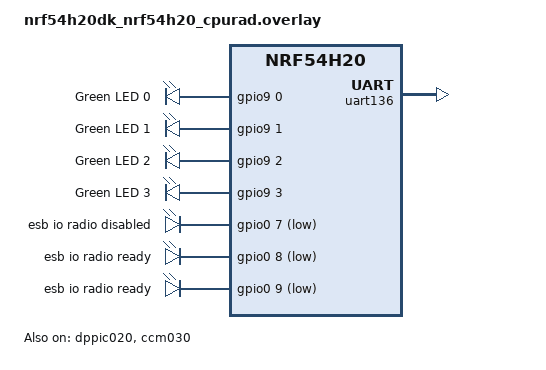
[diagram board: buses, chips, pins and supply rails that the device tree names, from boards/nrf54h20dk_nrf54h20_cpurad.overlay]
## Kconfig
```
#
# Copyright (c) 2020 Nordic Semiconductor
#
# SPDX-License-Identifier: LicenseRef-Nordic-5-Clause
#

source "Kconfig.zephyr"

menu "Enhanced ShockBurst: Transmitter"

config ESB_PTX_APP_LOG_LEVEL
	int "Log level for the ESB PTX sample"
	default 4

config ESB_PTX_TX_LENGTH
	int "TX payload length"
	range 1 ESB_MAX_PAYLOAD_LENGTH
	default 1

config APP_DATA_LENGTH
	int "Exact payload length"
	range 1 ESB_MAX_PAYLOAD_LENGTH
	default 4

config ESB_PTX_BATCH_SIZE
	int "TX batch size"
	range 1 4000000000
	default 1000

config ESB_PTX_DELAY
	int "TX delay"
	range 0 10000000
	default 0
	help
	  Delay a number of microseconds before sending an ESB packet.

endmenu
```

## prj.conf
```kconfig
#
# Copyright (c) 2019 Nordic Semiconductor ASA
#
# SPDX-License-Identifier: LicenseRef-Nordic-5-Clause
#
CONFIG_CLOCK_CONTROL=y
CONFIG_NCS_SAMPLES_DEFAULTS=y
CONFIG_ESB=y

CONFIG_ESB_FAST_SWITCHING=y
CONFIG_ESB_FAST_CHANNEL_SWITCHING=y
CONFIG_ESB_RX_FIFO_SIZE=40
CONFIG_ESB_TX_FIFO_SIZE=40

CONFIG_ESB_PTX_TX_LENGTH=10

# 1kHz packet rate
# CONFIG_ESB_PTX_DELAY=1000
# 2kHz packet rate
# CONFIG_ESB_PTX_DELAY=500
# 4kHz packet rate
# CONFIG_ESB_PTX_DELAY=250
CONFIG_ESB_PTX_DELAY=125
# CONFIG_ESB_PTX_DELAY=100000
CONFIG_SPIN_VALIDATE=n

# Security
CONFIG_NRF_SECURITY=y
CONFIG_MBEDTLS_PSA_CRYPTO_C=y

CONFIG_MBEDTLS_ENABLE_HEAP=y
CONFIG_MBEDTLS_HEAP_SIZE=8192
CONFIG_MAIN_STACK_SIZE=4096

# CONFIG_CLOAK=y
CONFIG_JETSTREAM=y
```

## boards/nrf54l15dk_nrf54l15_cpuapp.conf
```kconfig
# CONFIG_SOC_NRF_FORCE_CONSTLAT=y
CONFIG_NRFX_DPPI10=y
```

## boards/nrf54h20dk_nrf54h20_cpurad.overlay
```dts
/*
 * Copyright (c) 2024 Nordic Semiconductor ASA
 *
 * SPDX-License-Identifier: LicenseRef-Nordic-5-Clause
 */

 / {
	leds {
		compatible = "gpio-leds";

		led0: led_0 {
			gpios = < &gpio9 0 GPIO_ACTIVE_HIGH >;
			label = "Green LED 0";
		};

		led1: led_1 {
			gpios = < &gpio9 1 GPIO_ACTIVE_HIGH >;
			label = "Green LED 1";
		};

		led2: led_2 {
			gpios = < &gpio9 2 GPIO_ACTIVE_HIGH >;
			label = "Green LED 2";
		};

		led3: led_3 {
			gpios = < &gpio9 3 GPIO_ACTIVE_HIGH >;
			label = "Green LED 3";
		};
	};

	aliases {
		led0 = &led0;
		led1 = &led1;
		led2 = &led2;
		led3 = &led3;
	};

	chosen {
		zephyr,console = &uart136;
	};
	esb_gpio {
		compatible = "gpio-leds";
		esb_io_radio_disabled: esb-io-radio-disabled {
			gpios = <&gpio0 7 GPIO_ACTIVE_LOW>;
			label = "esb io radio disabled";
		};
		esb_io_radio_rx: esb-io-radio-rx {
			gpios = <&gpio0 8 GPIO_ACTIVE_LOW>;
			label = "esb io radio ready";
		};
		esb_io_radio_tx: esb-io-radio-tx {
			gpios = <&gpio0 9 GPIO_ACTIVE_LOW>;
			label = "esb io radio ready";
		};
	};

};

&gpio9 {
	status = "okay";
};

&gpio0 {
	status = "okay";
};

&gpiote130 {
	owned-channels = <0 1 2 3 4 5 6 7>;
	status = "okay";
};

&uart136 {
	status = "okay";
	memory-regions = <&cpurad_dma_region>;
};

&uart135 {
	status = "disabled";
};

&dppic020 {
	status = "okay";
	source-channels = < 0 1 2 3 4 5 >;
	sink-channels = < 6 7 8 9 10 11 >;
};

&ccm030 {
	status = "okay";
};
```

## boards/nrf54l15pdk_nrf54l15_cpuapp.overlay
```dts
/{
	esb_gpio {
		compatible = "gpio-leds";
		esb_io_radio_disabled: esb-io-radio-disabled {
			gpios = <&gpio2 9 GPIO_ACTIVE_LOW>;
			label = "esb io radio disabled";
		};
		esb_io_radio_rx: esb-io-radio-rx {
			gpios = <&gpio1 10 GPIO_ACTIVE_LOW>;
			label = "esb io radio ready";
		};
		esb_io_radio_tx: esb-io-radio-tx {
			gpios = <&gpio2 7 GPIO_ACTIVE_LOW>;
			label = "esb io radio ready";
		};
	};

};
```

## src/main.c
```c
/*
 * Copyright (c) 2018 Nordic Semiconductor ASA
 *
 * SPDX-License-Identifier: LicenseRef-Nordic-5-Clause
 */
#include <zephyr/drivers/clock_control.h>
#include <zephyr/drivers/clock_control/nrf_clock_control.h>

#if defined(NRF54L15_XXAA)
#include <hal/nrf_clock.h>
#endif /* defined(NRF54L15_XXAA) */
#include <zephyr/drivers/timer/nrf_grtc_timer.h>
#include <zephyr/drivers/gpio.h>
#include <zephyr/irq.h>
#include <zephyr/logging/log.h>
#include <nrf.h>
#include <esb.h>
#include <zephyr/device.h>
#include <zephyr/devicetree.h>
#include <zephyr/kernel.h>
#include <zephyr/types.h>
#include <zephyr/sys/byteorder.h>
#if defined(CONFIG_CLOCK_CONTROL_NRF2)
#include <hal/nrf_lrcconf.h>
#endif
#if defined(CONFIG_CLOAK)
#include <cloak.h>
#endif
#include <jetstr.h>
LOG_MODULE_REGISTER(esb_ptx, CONFIG_ESB_PTX_APP_LOG_LEVEL);
struct main_msg {
	uint32_t type;
	uint32_t cnt;
#ifdef CONFIG_CLOAK
	uint32_t cnt_err;
#endif
};

#define MAIN_MSG_TX             0
#define MAIN_MSG_TIMER          1
#define MAIN_MSG_TX_FAIL        2
#define MAIN_MSG_RX             3

struct print_msg {
	uint32_t tx_cnt;
	uint32_t tx_fail_cnt;
	uint32_t rx_cnt;
#ifdef CONFIG_ESB_PTX_DATA_CHECK
	uint32_t rx_error_cnt;
#endif
	int64_t time_cnt;
};

static struct esb_payload rx_payload;
static struct esb_payload tx_payload = ESB_CREATE_PAYLOAD(0, 0x01, 0x02, 0x03, 0x04);
K_MSGQ_DEFINE(main_msgq,
	      sizeof(struct main_msg),
	      64,
	      sizeof(uint32_t));

K_MSGQ_DEFINE(print_msgq,
	      sizeof(struct print_msg),
	      1,
	      sizeof(uint32_t));


static struct k_thread print_thread;

static K_THREAD_STACK_DEFINE(print_stack, 512);

#if CONFIG_ESB_PTX_DELAY > 0
static int32_t timer_chan;
static uint64_t timer_tick;

static int timer_target_set(void);
#endif

static uint8_t nonce[13] = {0};
uint8_t data[CONFIG_APP_DATA_LENGTH];
static uint8_t s_channel_tab[] = JETSTR_CHANNEL_TAB;
static const int8_t hid_xy[][2] = {
	{35,7}, {30,21}, {21,30}, {7,35},
	{-7,35}, {-21,30}, {-30,21}, {-35,7},
	{-35,-7}, {-30,-21}, {-21,-30}, {-7,-35},
	{7,-35}, {21,-30}, {30,-21}, {35,-7}
};

void event_handler(void *p_event_data, uint16_t event_size)
{
	struct main_msg msg;
	int err;
	jetstr_evt_t *evt;

	evt = (jetstr_evt_t *)p_event_data;
	switch (evt->type) {
	case jetstr_evt_tx_success:
		msg.type = MAIN_MSG_TX;
		msg.cnt = 1;
		err = k_msgq_put(&main_msgq, &msg, K_NO_WAIT);
		if (err) {
			LOG_ERR("Cannot put TX done to message queue");
		}
		break;
	case jetstr_evt_tx_failed:
		esb_start_tx();
		msg.type = MAIN_MSG_TX_FAIL;
		msg.cnt = 1;
		err = k_msgq_put(&main_msgq, &msg, K_NO_WAIT);
		if (err) {
			LOG_ERR("Cannot put TX fail to message queue");
		}
		break;
	case jetstr_evt_rx_received:
		msg.type = MAIN_MSG_RX;
		msg.cnt = 0;
#ifdef CONFIG_CLOAK
		msg.cnt_err = 0;
#endif
		while (esb_read_rx_payload(&rx_payload) == 0) {
			msg.cnt++;
		}

		err = k_msgq_put(&main_msgq, &msg, K_NO_WAIT);
		if (err) {
			LOG_ERR("Cannot put RX count to message queue");
		}

		break;
	case jetstr_evt_none:

		break;

	}
}

#if defined(CONFIG_CLOCK_CONTROL_NRF)
int clocks_start(void)
{
	int err;
	int res;
	struct onoff_manager *clk_mgr;
	struct onoff_client clk_cli;

	clk_mgr = z_nrf_clock_control_get_onoff(CLOCK_CONTROL_NRF_SUBSYS_HF);
	if (!clk_mgr) {
		LOG_ERR("Unable to get the Clock manager");
		return -ENXIO;
	}

	sys_notify_init_spinwait(&clk_cli.notify);

	err = onoff_request(clk_mgr, &clk_cli);
	if (err < 0) {
		LOG_ERR("Clock request failed: %d", err);
		return err;
	}

	do {
		err = sys_notify_fetch_result(&clk_cli.notify, &res);
		if (!err && res) {
			LOG_ERR("Clock could not be started: %d", res);
			return res;
		}
	} while (err);

#if defined(NRF54L15_XXAA)
	/* MLTPAN-20 */
	nrf_clock_task_trigger(NRF_CLOCK, NRF_CLOCK_TASK_PLLSTART);
#endif /* defined(NRF54L15_XXAA) */

	LOG_DBG("HF clock started");
	return 0;
}

#elif defined(CONFIG_CLOCK_CONTROL_NRF2)

int clocks_start(void)
{
	int err;
	int res;
	const struct device *radio_clk_dev =
		DEVICE_DT_GET_OR_NULL(DT_CLOCKS_CTLR(DT_NODELABEL(radio)));
	struct onoff_client radio_cli;

	/** Keep radio domain powered all the time to reduce latency. */
	nrf_lrcconf_poweron_force_set(NRF_LRCCONF010, NRF_LRCCONF_POWER_DOMAIN_1, true);

	sys_notify_init_spinwait(&radio_cli.notify);

	err = nrf_clock_control_request(radio_clk_dev, NULL, &radio_cli);

	do {
		err = sys_notify_fetch_result(&radio_cli.notify, &res);
		if (!err && res) {
			LOG_ERR("Clock could not be started: %d", res);
			return res;
		}
	} while (err == -EAGAIN);

	nrf_lrcconf_clock_always_run_force_set(NRF_LRCCONF000, 0, true);
	nrf_lrcconf_task_trigger(NRF_LRCCONF000, NRF_LRCCONF_TASK_CLKSTART_0);

	LOG_DBG("HF clock started");
	return 0;
}

#else
BUILD_ASSERT(false, "No Clock Control driver");
#endif /* defined(CONFIG_CLOCK_CONTROL_NRF2) */

int esb_initialize(void)
{
	int err;
	/* These are arbitrary default addresses. In end user products
	 * different addresses should be used for each set of devices.
	 */
	jetstr_cfg_t jetstr_config;
	jetstr_cfg_params_t jetstr_cfg_params;
	struct esb_config config = ESB_DEFAULT_CONFIG;

	jetstr_cfg_params.jetstr_channel_tab = s_channel_tab;
	jetstr_cfg_params.jetstr_channel_tab_size = JETSTR_CHANNEL_TAB_SIZE;
	jetstr_cfg_params.jetstr_rx_period = JETSTR_RX_PERIOD;
	jetstr_cfg_params.jetstr_rx_delay = JETSTR_RX_DELAY;
	jetstr_cfg_params.jetstr_retran_cnt_in_sync = JETSTR_RETRAN_CNT_IN_SYNC;
	jetstr_cfg_params.jetstr_retran_cnt_out_of_sync = JETSTR_RETRAN_CNT_OUT_OF_SYNC;
	jetstr_cfg_params.jetsr_rx_retran = JETSTR_RX_RETRAN;
	jetstr_cfg_params.jetstr_retran_cnt_chan_sw = JETSTR_RETRAN_CNT_CHAN_SW;

	jetstr_config.event_callback = event_handler;
	jetstr_config.config = config;
	jetstr_config.config.protocol = ESB_PROTOCOL_ESB_DPL;
	jetstr_config.config.bitrate = ESB_BITRATE_4MBPS;
	jetstr_config.config.mode = ESB_MODE_PTX;
	jetstr_config.config.crc = ESB_CRC_16BIT;
	jetstr_config.config.tx_output_power = 8;
	jetstr_config.config.selective_auto_ack = true;
	if (IS_ENABLED(CONFIG_ESB_FAST_SWITCHING)) {
		jetstr_config.config.use_fast_ramp_up = true;
	}

	jetstr_init(&jetstr_config.config, &jetstr_cfg_params);

	return 0;
}

static void fill_tx_payload_data(struct esb_payload *payload)
{
	static uint8_t tx_data_next;

	payload->data[0] = 2;
	payload->data[1] = 0;
	payload->data[2] = hid_xy[tx_data_next][0];
	payload->data[3] = hid_xy[tx_data_next][1];
	payload->data[4] = 0;

	tx_data_next = (tx_data_next + 1 < ARRAY_SIZE(hid_xy)) ? tx_data_next + 1 : 0;

}

static void fill_tx_fifo(void)
{
	int err;
	static bool tx_data_set;
#if defined(CONFIG_CLOAK)
	uint8_t opc = CLOAK_OPC_CCM_DATA_P;
	static uint8_t temp[CLOAK_DATA_MAX_SIZE];
	size_t olen;
	uint32_t temp_nonce = 256;
#endif

	while (1) {
		if (!tx_data_set) {
			fill_tx_payload_data(&tx_payload);
		}
#if defined(CONFIG_CLOAK)

		temp_nonce = sys_get_le32(nonce);
		temp_nonce++;
		// LOG_INF("%d", temp_nonce);
		sys_put_le48(temp_nonce, &nonce[0]);

		err = cloak_ccm_encrypt_data(PSA_KEY_ID_NULL,
				nonce,
				&opc, sizeof(opc),
				data, sizeof(data),
				&tx_payload.data[1], CONFIG_APP_DATA_LENGTH + 4,
				&olen);
		sys_put_le32(temp_nonce, &tx_payload.data[1 + CONFIG_APP_DATA_LENGTH + 4]);
		// LOG_INF("e after tick = %lld", k_uptime_get() - before);
		// };

		// before = k_uptime_get();
		// LOG_HEXDUMP_INF(data, sizeof(data), "plain   data");
		// LOG_HEXDUMP_INF(&tx_payload.data[0], olen + 1, "encrypt data");
		// LOG_INF("encrypt olen = %d", olen);
		// err = cloak_ccm_decrypt_data(PSA_KEY_ID_NULL,
		// 		nonce,
		// 		&opc, sizeof(opc),
		// 		&tx_payload.data[1], olen,
		// 		temp, sizeof(temp),
		// 		&olen);

		// LOG_INF("d after tick = %lld", k_uptime_get() - before);
		// if(err) {
		// 	LOG_ERR("cloak_ccm_decrypt_data Error = %d", err);
		// }

#endif
		err = esb_write_payload(&tx_payload);
		tx_data_set = (!err) ? false : true;
		if (err) {
			break;
		}

#if CONFIG_ESB_PTX_DELAY > 0
		break;
#endif
	}
}

#if CONFIG_ESB_PTX_DELAY > 0
static void timer_compare_handler(int32_t chan_id,
				  uint64_t expire_time,
				  void *user_data)
{
	timer_target_set();

	struct main_msg msg;
	int err;

	msg.type = MAIN_MSG_TIMER;
	err = k_msgq_put(&main_msgq, &msg, K_NO_WAIT);
	if (err) {
		LOG_ERR("Cannot put TIMER count to message queue");
	}
}

static int timer_target_set(void)
{
	int err;

	timer_tick += CONFIG_ESB_PTX_DELAY; // TODO: convert microseconds to timer tick

	err = z_nrf_grtc_timer_set(timer_chan,
				   timer_tick,
				   timer_compare_handler,
				   NULL);

	return err;
}
#endif

static void print_main(void *p1, void *p2, void *p3)
{
	struct print_msg msg;

	/* Process message queue */
	while (!k_msgq_get(&print_msgq, &msg, K_FOREVER)) {
		LOG_INF("Sent %u packets. Failed %u packets. Received %u packets.",
			msg.tx_cnt, msg.tx_fail_cnt, msg.rx_cnt);
		LOG_INF("Elapsed %lld milliseconds.", msg.time_cnt);
	}
}


int main(void)
{
	int err;

	LOG_INF("Enhanced ShockBurst ptx sample");

	err = clocks_start();
	if (err) {
		return 0;
	}

	err = esb_initialize();
	if (err) {
		LOG_ERR("ESB initialization failed, err %d", err);
		return 0;
	}

#if defined(CONFIG_CLOAK)
	cloak_init();
	cloak_set_pairing_key(CLOAK_DEFAULT_PAIR_KEY);
	cloak_import_ccm_sk(CLOAK_DEFAULT_AES_KEY);
#endif

	k_thread_create(&print_thread,
			print_stack,
			K_THREAD_STACK_SIZEOF(print_stack),
			print_main,
			NULL,
			NULL,
			NULL,
			K_LOWEST_APPLICATION_THREAD_PRIO,
			0,
			K_NO_WAIT);

#if CONFIG_ESB_PTX_DELAY > 0
	timer_chan = z_nrf_grtc_timer_chan_alloc();
	if (timer_chan < 0) {
		LOG_ERR("Cannot get a timer channel");
		return 0;
	}
#endif

	LOG_INF("Initialization complete");
	LOG_INF("Sending test packet");

	tx_payload.length = 5;//CONFIG_ESB_PTX_TX_LENGTH;
	fill_tx_payload_data(&tx_payload);
	tx_payload.noack = false;

#if CONFIG_ESB_PTX_DELAY > 0
	timer_tick = z_nrf_grtc_timer_read();
	timer_target_set();
#endif

	uint32_t tx_event_cnt = 0;
	uint32_t tx_fail_cnt = 0;
	uint32_t rx_fifo_cnt = 0;
#ifdef CONFIG_CLOAK
	uint32_t rx_error_cnt = 0;
#endif

	struct main_msg msg;

	while (1) {
		int64_t time_cnt;

		time_cnt = k_uptime_get();

#if !CONFIG_ESB_PTX_DELAY
		fill_tx_fifo();
#endif

		do {
			k_msgq_get(&main_msgq, &msg, K_FOREVER);
			do {
				switch(msg.type) {
				case MAIN_MSG_TX_FAIL:
					tx_fail_cnt += msg.cnt;
				case MAIN_MSG_TX:
					tx_event_cnt += msg.cnt;
#if !CONFIG_ESB_PTX_DELAY
					fill_tx_fifo();
#endif
					break;
#if CONFIG_ESB_PTX_DELAY > 0
				case MAIN_MSG_TIMER:
					fill_tx_fifo();
					break;
#endif
				case MAIN_MSG_RX:
					rx_fifo_cnt += msg.cnt;
					break;
				default:
					break;
				}
			} while (!k_msgq_get(&main_msgq, &msg, K_NO_WAIT));
		} while (tx_event_cnt < CONFIG_ESB_PTX_BATCH_SIZE);

		time_cnt = k_uptime_delta(&time_cnt);

		struct print_msg prt_msg;

		prt_msg.tx_cnt = tx_event_cnt;
		tx_event_cnt = 0;
		prt_msg.tx_fail_cnt = tx_fail_cnt;
		tx_fail_cnt = 0;
		prt_msg.rx_cnt = rx_fifo_cnt;
		rx_fifo_cnt = 0;
		prt_msg.time_cnt = time_cnt;

		err = k_msgq_put(&print_msgq, &prt_msg, K_NO_WAIT);
		if (err) {
			LOG_ERR("Cannot put PTX statistics to message queue");
		}
	}
}
```
